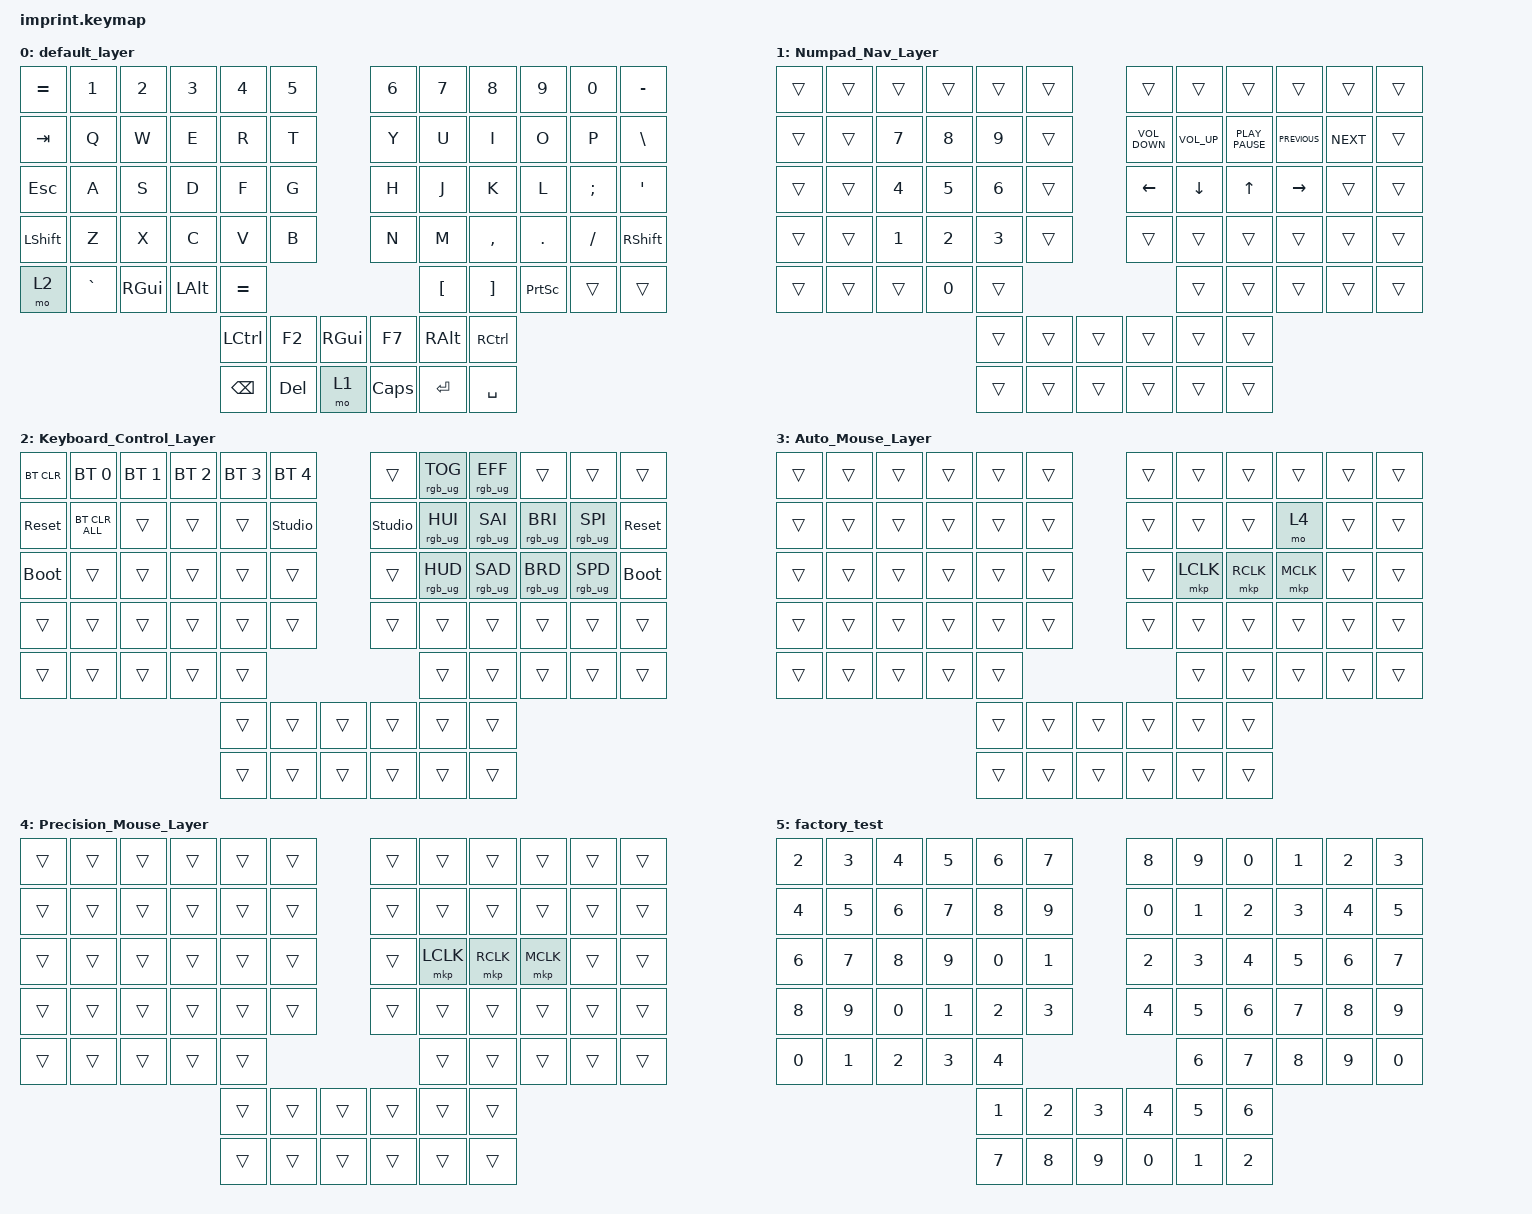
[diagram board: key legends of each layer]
#include <input/processors.dtsi>
#include <dt-bindings/zmk/input_transform.h>
#include <behaviors.dtsi>
#include <dt-bindings/zmk/bt.h>
#include <dt-bindings/zmk/keys.h>
#include <dt-bindings/zmk/pointing.h>
#include <dt-bindings/zmk/rgb.h>

/ {
    chosen { zmk,matrix-transform = &imprint_number_row_full_bottom_row; };

    keymap {
        compatible = "zmk,keymap";

        default_layer {
            bindings = <
&kp EQUAL   &kp N1     &kp N2    &kp N3    &kp N4         &kp N5                    &kp N6    &kp N7            &kp N8     &kp N9           &kp N0    &kp MINUS
&kp TAB     &kp Q      &kp W     &kp E     &kp R          &kp T                     &kp Y     &kp U             &kp I      &kp O            &kp P     &kp BSLH
&kp ESCAPE  &kp A      &kp S     &kp D     &kp F          &kp G                     &kp H     &kp J             &kp K      &kp L            &kp SEMI  &kp SQT
&kp LSHFT   &kp Z      &kp X     &kp C     &kp V          &kp B                     &kp N     &kp M             &kp COMMA  &kp DOT          &kp FSLH  &kp RSHFT
&mo 2       &kp GRAVE  &kp RGUI  &kp LALT  &kp EQUAL                                          &kp LEFT_BRACKET  &kp RBKT   &kp PRINTSCREEN  &trans    &trans
                                           &kp LCTRL      &kp F2   &kp RIGHT_GUI    &kp F7    &kp RIGHT_ALT     &kp RCTRL
                                           &kp BACKSPACE  &kp DEL  &mo 1            &kp CAPS  &kp ENTER         &kp SPACE
            >;
        };

        Numpad_Nav_Layer {
            bindings = <
&trans  &trans  &trans  &trans  &trans  &trans            &trans             &trans           &trans            &trans          &trans      &trans
&trans  &trans  &kp N7  &kp N8  &kp N9  &trans            &kp C_VOLUME_DOWN  &kp C_VOLUME_UP  &kp K_PLAY_PAUSE  &kp K_PREVIOUS  &kp C_NEXT  &trans
&trans  &trans  &kp N4  &kp N5  &kp N6  &trans            &kp LEFT           &kp DOWN         &kp UP            &kp RIGHT       &trans      &trans
&trans  &trans  &kp N1  &kp N2  &kp N3  &trans            &trans             &trans           &trans            &trans          &trans      &trans
&trans  &trans  &trans  &kp N0  &trans                                       &trans           &trans            &trans          &trans      &trans
                                &trans  &trans  &trans    &trans             &trans           &trans
                                &trans  &trans  &trans    &trans             &trans           &trans
            >;
        };

        Keyboard_Control_Layer {
            bindings = <
&bt BT_CLR   &bt BT_SEL 0    &bt BT_SEL 1  &bt BT_SEL 2  &bt BT_SEL 3  &bt BT_SEL 4              &trans          &rgb_ug RGB_TOG  &rgb_ug RGB_EFF  &trans           &trans           &trans
&sys_reset   &bt BT_CLR_ALL  &trans        &trans        &trans        &studio_unlock            &studio_unlock  &rgb_ug RGB_HUI  &rgb_ug RGB_SAI  &rgb_ug RGB_BRI  &rgb_ug RGB_SPI  &sys_reset
&bootloader  &trans          &trans        &trans        &trans        &trans                    &trans          &rgb_ug RGB_HUD  &rgb_ug RGB_SAD  &rgb_ug RGB_BRD  &rgb_ug RGB_SPD  &bootloader
&trans       &trans          &trans        &trans        &trans        &trans                    &trans          &trans           &trans           &trans           &trans           &trans
&trans       &trans          &trans        &trans        &trans                                                  &trans           &trans           &trans           &trans           &trans
                                                         &trans        &trans          &trans    &trans          &trans           &trans
                                                         &trans        &trans          &trans    &trans          &trans           &trans
            >;
        };

        Auto_Mouse_Layer {
            bindings = <
&trans  &trans  &trans  &trans  &trans  &trans            &trans  &trans     &trans     &trans     &trans  &trans
&trans  &trans  &trans  &trans  &trans  &trans            &trans  &trans     &trans     &mo 4      &trans  &trans
&trans  &trans  &trans  &trans  &trans  &trans            &trans  &mkp LCLK  &mkp RCLK  &mkp MCLK  &trans  &trans
&trans  &trans  &trans  &trans  &trans  &trans            &trans  &trans     &trans     &trans     &trans  &trans
&trans  &trans  &trans  &trans  &trans                            &trans     &trans     &trans     &trans  &trans
                                &trans  &trans  &trans    &trans  &trans     &trans
                                &trans  &trans  &trans    &trans  &trans     &trans
            >;
        };

        Precision_Mouse_Layer {
            bindings = <
&trans  &trans  &trans  &trans  &trans  &trans            &trans  &trans     &trans     &trans     &trans  &trans
&trans  &trans  &trans  &trans  &trans  &trans            &trans  &trans     &trans     &trans     &trans  &trans
&trans  &trans  &trans  &trans  &trans  &trans            &trans  &mkp LCLK  &mkp RCLK  &mkp MCLK  &trans  &trans
&trans  &trans  &trans  &trans  &trans  &trans            &trans  &trans     &trans     &trans     &trans  &trans
&trans  &trans  &trans  &trans  &trans                            &trans     &trans     &trans     &trans  &trans
                                &trans  &trans  &trans    &trans  &trans     &trans
                                &trans  &trans  &trans    &trans  &trans     &trans
            >;
        };

        factory_test {
            bindings = <
&kp N2  &kp N3  &kp N4  &kp N5  &kp N6  &kp N7            &kp N8  &kp N9  &kp N0  &kp N1  &kp N2  &kp N3
&kp N4  &kp N5  &kp N6  &kp N7  &kp N8  &kp N9            &kp N0  &kp N1  &kp N2  &kp N3  &kp N4  &kp N5
&kp N6  &kp N7  &kp N8  &kp N9  &kp N0  &kp N1            &kp N2  &kp N3  &kp N4  &kp N5  &kp N6  &kp N7
&kp N8  &kp N9  &kp N0  &kp N1  &kp N2  &kp N3            &kp N4  &kp N5  &kp N6  &kp N7  &kp N8  &kp N9
&kp N0  &kp N1  &kp N2  &kp N3  &kp N4                            &kp N6  &kp N7  &kp N8  &kp N9  &kp N0
                                &kp N1  &kp N2  &kp N3    &kp N4  &kp N5  &kp N6
                                &kp N7  &kp N8  &kp N9    &kp N0  &kp N1  &kp N2
            >;
        };
    };
};

// Left hand trackball configuration - cursor mode with auto-activate mouse layer

&trackball_central_listener {
    input-processors =
        // Default slower speed for precision (2x slower),,
        <&zip_xy_scaler 1 2>,
        // Auto-activate layer 3 (mouse buttons) for 3 seconds when trackball moves,,
        <&zip_temp_layer 3 1000>;

    // Extra precision mode: even slower (4x slower) when layer 4 is active

    precision_mode {
        layers = <4>;
        input-processors = <&zip_xy_scaler 1 4>, <&zip_temp_layer 3 1000>;
    };
};

// Right hand trackball configuration - scroll mode (NO layer activation to reduce BLE load)

&trackball_peripheral_listener {
    input-processors =
        // Much slower scrolling (1/30 speed for very slow, precise scrolling),,
        <&zip_xy_scaler 1 30>,
        // Convert movement to scroll events,,
        <&zip_xy_to_scroll_mapper>,
        // Invert vertical scrolling so the view moves with the trackball,,
        <&zip_scroll_transform INPUT_TRANSFORM_Y_INVERT>;

    // REMOVED: zip_temp_layer from peripheral to reduce split BLE traffic
};
